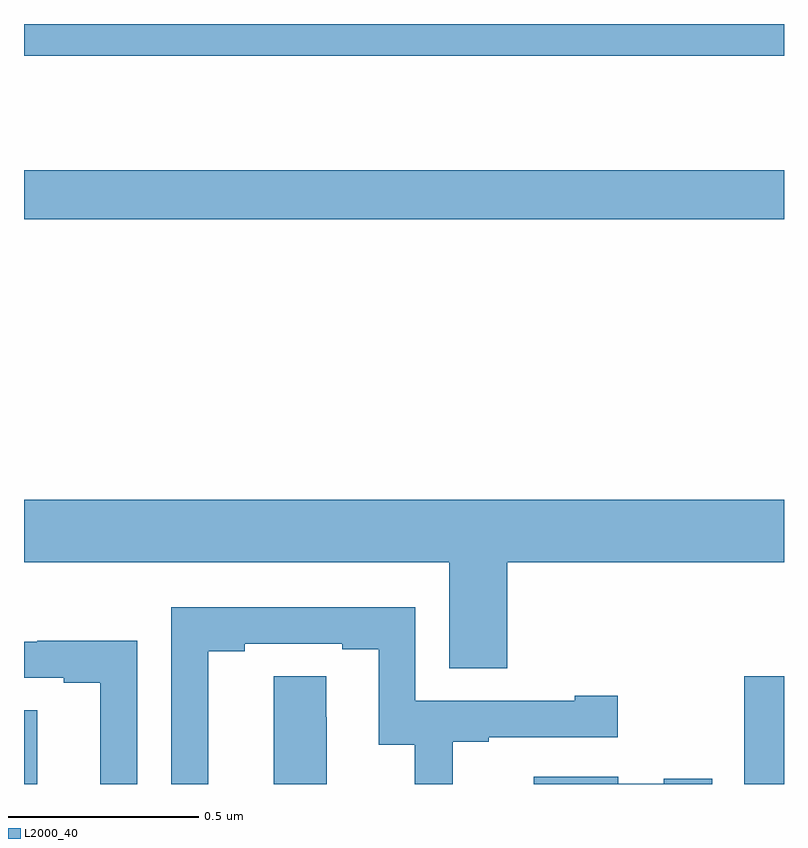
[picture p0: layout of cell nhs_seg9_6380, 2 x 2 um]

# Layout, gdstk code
import gdstk
lib = gdstk.Library(unit=1e-6, precision=1e-09)
def R(c, l, rs):  # rectangles x0, y0, x1, y1
    for r in rs: c.add(gdstk.rectangle(r[:2], r[2:], *l))
def P(c, l, *ps):  # polygons
    for p in ps: c.add(gdstk.Polygon(p, *l))
L2000_40 = (2000, 40)

nhs_seg9_6380 = lib.new_cell('nhs_seg9_6380')
R(nhs_seg9_6380, L2000_40, [(191,1198.5,191.035,1198.694), (192.896,1198.5,193,1198.783), (191,1199.986,193,1200.115), (191,1200.416,193,1200.5)])
P(nhs_seg9_6380, L2000_40, [(192.272,1199.084),(193,1199.084),(193,1199.248),(191,1199.248),(191,1199.084),(192.119,1199.084),(192.119,1198.804),(192.272,1198.804)],
  [(191.485,1198.849),(191.581,1198.849),(191.581,1198.869),(191.837,1198.869),(191.837,1198.854),(191.933,1198.854),(191.933,1198.603),(192.028,1198.603),(192.028,1198.5),(192.128,1198.5),(192.128,1198.611),(192.223,1198.611),(192.223,1198.623),(192.562,1198.623),(192.562,1198.732),(192.449,1198.732),(192.449,1198.719),(192.03,1198.719),(192.03,1198.965),(191.388,1198.965),(191.388,1198.5),(191.485,1198.5)],
  [(191.298,1198.877),(191.035,1198.877),(191.035,1198.875),(191,1198.875),(191,1198.779),(191.105,1198.779),(191.105,1198.767),(191.201,1198.767),(191.201,1198.5),(191.298,1198.5)],
  [(191.797,1198.676),(191.796,1198.676),(191.796,1198.784),(191.657,1198.784),(191.657,1198.5),(191.797,1198.5)],
  [(192.811,1198.514),(192.684,1198.514),(192.684,1198.501),(192.564,1198.501),(192.564,1198.519),(192.341,1198.519),(192.341,1198.5),(192.811,1198.5)])

lib.write_gds('nhs_seg9_6380.gds')
